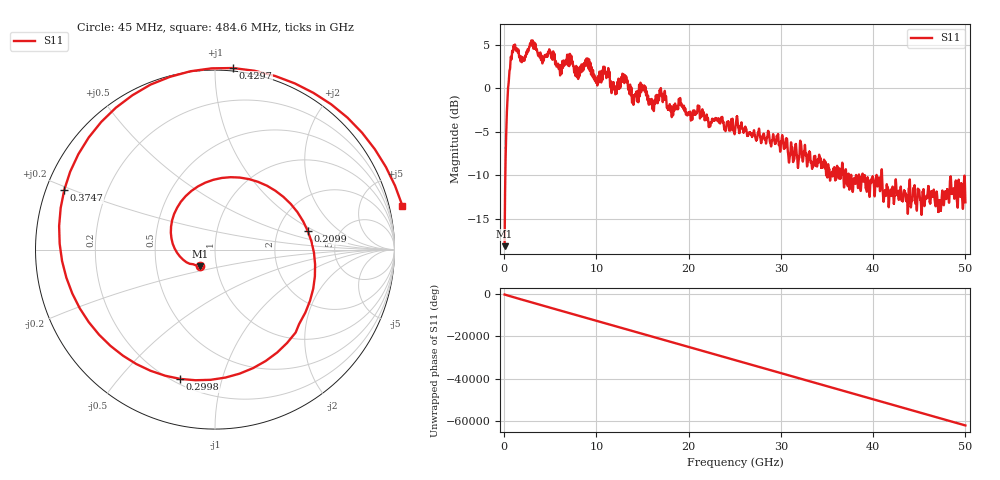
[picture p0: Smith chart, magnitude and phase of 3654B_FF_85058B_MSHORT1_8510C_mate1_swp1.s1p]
!Created with skrf (http://scikit-rf.org).
# Hz S RI R 50.0
!freq ReS11 ImS11
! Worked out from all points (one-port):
!   10001 points, 45 MHz to 50 GHz, reference 50 ohm
!   lowest |S11| = -18.2 dB at 45 MHz (marker M1), VSWR 1.28, Z = 41.8 - j7.93 ohm
!   |S11| at or under -10 dB: 37.62 GHz to 38.15 GHz (525.9 MHz wide, 1.39 % of centre); 38.88 GHz to 40.35 GHz (1.478 GHz wide, 3.73 % of centre); 40.97 GHz to end of sweep (the widest 3 of 19)
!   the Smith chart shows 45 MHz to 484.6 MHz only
!   S11 on the Smith chart (normalised r, x): 45 MHz: 0.84, -0.16; 209.9 MHz: 2.96, +0.85; 299.8 MHz: 0.23, -0.74; 374.7 MHz: 0.05, +0.19; 429.7 MHz: -0.02, +1.10; 484.6 MHz: -2.40, +7.89
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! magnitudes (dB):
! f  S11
! 45 MHz  -18.2
! 209.9 MHz  -5.6
! 299.8 MHz  -2.5
! 374.7 MHz  -0.9
! 429.7 MHz  0.1
! 484.6 MHz  0.6
! 794.3 MHz  3.3
! 1.174 GHz  5.0
! 1.983 GHz  3.5
! 3.032 GHz  4.9
! 6.289 GHz  3.1
! 8.987 GHz  2.6
! 10.02 GHz  1.1
! 10.95 GHz  1.7
! 11.84 GHz  0.7
! 12.53 GHz  0.9
! 14.06 GHz  -1.3
! 14.98 GHz  -0.2
! 16.02 GHz  -1.4
! 17.05 GHz  -0.9
! 18.78 GHz  -2.1
! 25.02 GHz  -5.0
! 31.27 GHz  -7.7
! 37.51 GHz  -10.8
! 43.76 GHz  -14.4
! 47.19 GHz  -12.9
! 48.52 GHz  -12.2
! 50 GHz  -13.1
